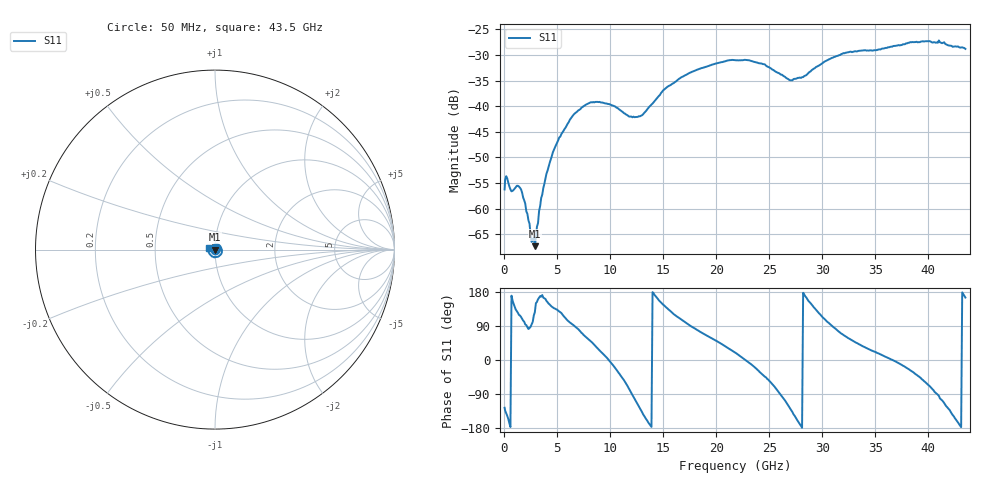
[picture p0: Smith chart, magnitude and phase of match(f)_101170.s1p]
# Hz S RI R 50.000000
! Metas.Vna.Data, 2.4.7734.25685
! Created: UTC 2023.03.21 14:20:04
! FREQ  re:S1,1  im:S1,1
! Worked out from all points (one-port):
!   436 points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, 50 MHz to 43.5 GHz, reference 50 ohm
!   lowest |S11| = -67.3 dB at 2.9 GHz (marker M1), VSWR 1.00, Z = 50 + j0.0347 ohm
!   |S11| at or under -10 dB: start of sweep to end of sweep
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5e7  -0.000907 -0.00124
3e8  -0.00166 -0.00106
7e8  -0.00145 0.000263
1.5e9  -0.000734 0.00142
1.8e9  -0.000309 0.00124
2.7e9  -9.09e-05 0.000491
2.9e9  -0.000254 0.000348
3.1e9  -0.000596 0.000299
3.5e9  -0.00124 0.000282
4.1e9  -0.00208 0.00108
4.8e9  -0.00284 0.00277
5.5e9  -0.00277 0.00478
6.5e9  -0.000414 0.00811
8e9  0.00634 0.00861
9.5e9  0.0104 0.00214
1.1e10  0.00676 -0.006
1.19e10  0.00108 -0.00783
1.29e10  -0.00538 -0.00599
1.51e10  -0.0117 0.00859
1.64e10  -0.00702 0.0167
1.84e10  0.00562 0.0224
2.18e10  0.0265 0.00927
2.44e10  0.0199 -0.0162
2.73e10  -0.0148 -0.0109
3.27e10  0.0201 0.0274
3.81e10  0.0382 -0.0163
4.1e10  -0.00362 -0.0436
4.35e10  -0.0349 0.00951
